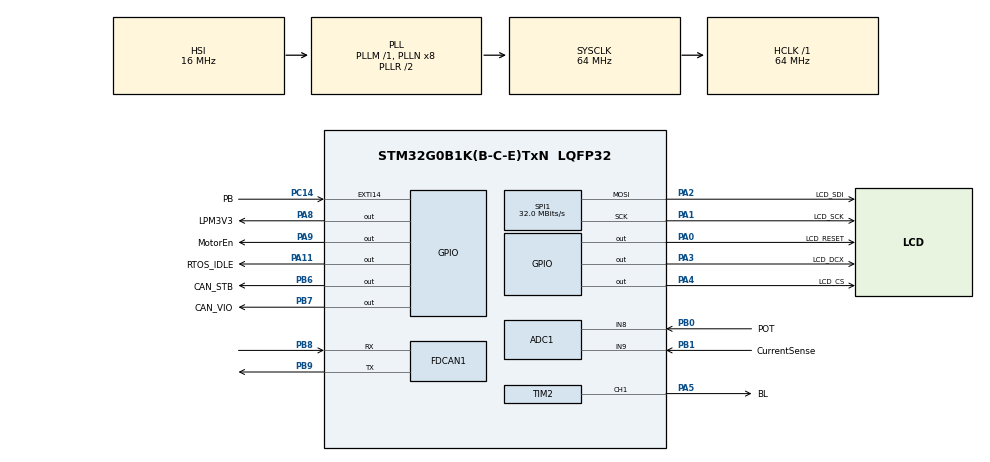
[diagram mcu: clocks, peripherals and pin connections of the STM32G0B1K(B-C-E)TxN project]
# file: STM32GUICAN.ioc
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ADC1.ClockPrescaler=ADC_CLOCK_ASYNC_DIV2
ADC1.ContinuousConvMode=ENABLE
ADC1.DMAContinuousRequests=ENABLE
ADC1.EOCSelection=ADC_EOC_SEQ_CONV
ADC1.NbrOfConversion=1
ADC1.NbrOfConversionFlag=0
ADC1.Overrun=ADC_OVR_DATA_OVERWRITTEN
ADC1.SamplingTimeCommon1=ADC_SAMPLETIME_160CYCLES_5
ADC1.SelectedChannel=ADC_CHANNEL_TEMPSENSOR|ADC_CHANNEL_VREFINT|ADC_CHANNEL_8|ADC_CHANNEL_9
ADC1.Sequencer=NOT_FULLY_CONFIGURABLE
ADC1.TriggerFrequencyMode=ADC_TRIGGER_FREQ_LOW
ADC1.master=1
Dma.ADC1.0.Direction=DMA_PERIPH_TO_MEMORY
Dma.ADC1.0.EventEnable=DISABLE
Dma.ADC1.0.Instance=DMA1_Channel1
Dma.ADC1.0.MemDataAlignment=DMA_MDATAALIGN_HALFWORD
Dma.ADC1.0.MemInc=DMA_MINC_ENABLE
Dma.ADC1.0.Mode=DMA_CIRCULAR
Dma.ADC1.0.PeriphDataAlignment=DMA_PDATAALIGN_HALFWORD
Dma.ADC1.0.PeriphInc=DMA_PINC_DISABLE
Dma.ADC1.0.Polarity=HAL_DMAMUX_REQ_GEN_RISING
Dma.ADC1.0.Priority=DMA_PRIORITY_LOW
Dma.ADC1.0.RequestNumber=1
Dma.ADC1.0.SignalID=NONE
Dma.ADC1.0.SyncEnable=DISABLE
Dma.ADC1.0.SyncPolarity=HAL_DMAMUX_SYNC_NO_EVENT
Dma.ADC1.0.SyncRequestNumber=1
Dma.ADC1.0.SyncSignalID=NONE
Dma.Request0=ADC1
Dma.Request1=SPI1_TX
Dma.SPI1_TX.1.Direction=DMA_MEMORY_TO_PERIPH
Dma.SPI1_TX.1.EventEnable=DISABLE
Dma.SPI1_TX.1.Instance=DMA2_Channel1
Dma.SPI1_TX.1.MemDataAlignment=DMA_MDATAALIGN_HALFWORD
Dma.SPI1_TX.1.MemInc=DMA_MINC_ENABLE
Dma.SPI1_TX.1.Mode=DMA_NORMAL
Dma.SPI1_TX.1.PeriphDataAlignment=DMA_PDATAALIGN_HALFWORD
Dma.SPI1_TX.1.PeriphInc=DMA_PINC_DISABLE
Dma.SPI1_TX.1.Polarity=HAL_DMAMUX_REQ_GEN_RISING
Dma.SPI1_TX.1.Priority=DMA_PRIORITY_MEDIUM
Dma.SPI1_TX.1.RequestNumber=1
Dma.SPI1_TX.1.SignalID=NONE
Dma.SPI1_TX.1.SyncEnable=DISABLE
Dma.SPI1_TX.1.SyncPolarity=HAL_DMAMUX_SYNC_NO_EVENT
Dma.SPI1_TX.1.SyncRequestNumber=1
Dma.SPI1_TX.1.SyncSignalID=NONE
FDCAN1.CalculateBaudRateNominal=1000000
FDCAN1.CalculateTimeBitNominal=1000
FDCAN1.CalculateTimeQuantumNominal=15.625
FDCAN1.ClockDivider=FDCAN_CLOCK_DIV1
FDCAN1.NominalPrescaler=1
FDCAN1.NominalTimeSeg1=47
FDCAN1.NominalTimeSeg2=16
Mcu.Family=STM32G0
Mcu.Name=STM32G0B1K(B-C-E)TxN
Mcu.Package=LQFP32
Mcu.UserConstants=ST7789_SPI,SPI1;ST7789_DMA,DMA2_Channel1
NVIC.DMA1_Ch4_7_DMA2_Ch1_5_DMAMUX1_OVR_IRQn=true\:3\:0\:true\:false\:true\:true\:true\:true
NVIC.EXTI4_15_IRQn=true\:2\:0\:true\:false\:true\:true\:true\:true
NVIC.TIM15_IRQn=true\:1\:0\:true\:false\:true\:false\:true\:true
NVIC.TIM16_FDCAN_IT0_IRQn=true\:2\:0\:true\:false\:true\:true\:true\:true
NVIC.TimeBase=TIM15_IRQn
NVIC.TimeBaseIP=TIM15
PA0.GPIO_Label=LCD_RESET
PA0.GPIO_PuPd=GPIO_PULLUP
PA0.PinState=GPIO_PIN_SET
PA0.Signal=GPIO_Output
PA1.GPIO_Label=LCD_SCK
PA1.GPIO_PuPd=GPIO_PULLDOWN
PA1.GPIO_Speed=GPIO_SPEED_FREQ_VERY_HIGH
PA1.Mode=TX_Only_Simplex_Unidirect_Master
PA1.Signal=SPI1_SCK
PA11\ [PA9].GPIO_Label=RTOS_IDLE
PA11\ [PA9].GPIO_Speed=GPIO_SPEED_FREQ_VERY_HIGH
PA11\ [PA9].Signal=GPIO_Output
PA13.Mode=Serial_Wire
PA13.Signal=SYS_SWDIO
PA14-BOOT0.Mode=Serial_Wire
PA14-BOOT0.Signal=SYS_SWCLK
PA2.GPIO_Label=LCD_SDI
PA2.GPIO_PuPd=GPIO_PULLUP
PA2.GPIO_Speed=GPIO_SPEED_FREQ_VERY_HIGH
PA2.Mode=TX_Only_Simplex_Unidirect_Master
PA2.Signal=SPI1_MOSI
PA3.GPIO_Label=LCD_DCX
PA3.GPIO_Speed=GPIO_SPEED_FREQ_VERY_HIGH
PA3.PinState=GPIO_PIN_SET
PA3.Signal=GPIO_Output
PA4.GPIO_Label=LCD_CS
PA4.GPIO_Speed=GPIO_SPEED_FREQ_VERY_HIGH
PA4.Signal=GPIO_Output
PA5.GPIO_Label=BL
PA5.Signal=S_TIM2_CH1_ETR
PA8.GPIO_Label=LPM3V3
PA8.Signal=GPIO_Output
PA9.GPIO_Label=MotorEn
PA9.GPIO_PuPd=GPIO_PULLDOWN
PA9.Signal=GPIO_Output
PB0.GPIO_Label=POT
PB0.Mode=IN8
PB0.Signal=ADC1_IN8
PB1.GPIO_Label=CurrentSense
PB1.Mode=IN9
PB1.Signal=ADC1_IN9
PB6.GPIO_Label=CAN_STB
PB6.GPIO_PuPd=GPIO_PULLUP
PB6.PinState=GPIO_PIN_SET
PB6.Signal=GPIO_Output
PB7.GPIO_Label=CAN_VIO
PB7.GPIO_PuPd=GPIO_PULLDOWN
PB7.PinState=GPIO_PIN_RESET
PB7.Signal=GPIO_Output
PB8.Mode=FDCAN_Activate
PB8.Signal=FDCAN1_RX
PB9.Mode=FDCAN_Activate
PB9.Signal=FDCAN1_TX
PC14-OSC32_IN\ (PC14).GPIO_Label=PB
PC14-OSC32_IN\ (PC14).GPIO_ModeDefaultEXTI=GPIO_MODE_IT_RISING
PC14-OSC32_IN\ (PC14).GPIO_PuPd=GPIO_PULLDOWN
PC14-OSC32_IN\ (PC14).Signal=GPXTI14
ProjectManager.HeapSize=0x200
ProjectManager.StackSize=0x400
ProjectManager.TargetToolchain=CMake
RCC.ADCCLockSelection=RCC_ADCCLKSOURCE_HSI
RCC.ADCFreq_Value=16000000
RCC.AHBFreq_Value=64000000
RCC.CortexFreq_Value=64000000
RCC.EXTERNAL_CLOCK_VALUE=48000
RCC.FDCANCLockSelection=RCC_FDCANCLKSOURCE_PLL
RCC.HCLKFreq_Value=64000000
RCC.HSE_VALUE=8000000
RCC.HSI48_VALUE=48000000
RCC.HSI_VALUE=16000000
RCC.LSE_VALUE=32768
RCC.PLLP=RCC_PLLP_DIV32
RCC.SYSCLKFreq_VALUE=64000000
RCC.SYSCLKSource=RCC_SYSCLKSOURCE_PLLCLK
RCC.USBFreq_Value=48000000
RCC.VCOOutputFreq_Value=128000000
SH.S_TIM2_CH1_ETR.0=TIM2_CH1,PWM Generation1 CH1
SPI1.BaudRatePrescaler=SPI_BAUDRATEPRESCALER_2
SPI1.CLKPhase=SPI_PHASE_1EDGE
SPI1.CLKPolarity=SPI_POLARITY_LOW
SPI1.CalculateBaudRate=32.0 MBits/s
SPI1.DataSize=SPI_DATASIZE_8BIT
SPI1.Direction=SPI_DIRECTION_2LINES
SPI1.Mode=SPI_MODE_MASTER
SPI1.NSSPMode=SPI_NSS_PULSE_DISABLE
SPI1.VirtualType=VM_MASTER
STMicroelectronics.X-CUBE-TOUCHGFX.4.25.0.tgfx_block_size=19200
STMicroelectronics.X-CUBE-TOUCHGFX.4.25.0.tgfx_buffering_strategy=Partial
STMicroelectronics.X-CUBE-TOUCHGFX.4.25.0.tgfx_custom_height=320
STMicroelectronics.X-CUBE-TOUCHGFX.4.25.0.tgfx_custom_width=240
STMicroelectronics.X-CUBE-TOUCHGFX.4.25.0.tgfx_number_of_blocks=2
STMicroelectronics.X-CUBE-TOUCHGFX.4.25.0.tgfx_oswrapper=Custom
STMicroelectronics.X-CUBE-TOUCHGFX.4.25.0.tgfx_vector_rendering=Disabled
STMicroelectronics.X-CUBE-TOUCHGFX.4.25.0_IsPackSelfContextualization=true
TIM2.AutoReloadPreload=TIM_AUTORELOAD_PRELOAD_ENABLE
TIM2.Channel-PWM\ Generation1\ CH1=TIM_CHANNEL_1
TIM2.Period=1000-1
TIM2.Prescaler=300-1
VP_ADC1_TempSens_Input.Mode=IN-TempSens
VP_ADC1_Vref_Input.Mode=IN-Vrefint
VP_SYS_VS_DBSignals.Mode=DisableDeadBatterySignals
VP_SYS_VS_tim15.Mode=TIM15
board=custom

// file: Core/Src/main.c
/* USER CODE BEGIN Header */
/**
 ******************************************************************************
 * @file           : main.c
 * @brief          : Main program body
 ******************************************************************************
 * @attention
 *
 * Copyright (c) 2025 STMicroelectronics.
 * All rights reserved.
 *
 * This software is licensed under terms that can be found in the LICENSE file
 * in the root directory of this software component.
 * If no LICENSE file comes with this software, it is provided AS-IS.
 *
 ******************************************************************************
 */
/* USER CODE END Header */
#include "main.h"
#include "adc.h"
#include "dma.h"
#include "fdcan.h"
#include "spi.h"
#include "tim.h"
#include "gpio.h"

/* USER CODE BEGIN Includes */
#include <FreeRTOS.h>
#include <task.h>
#include "semphr.h"
#include "stm32g0xx_hal_conf.h"

#include "canbus.h"
#include "m15_motor.h"

#include "lcd.h"

#include "lvgl.h"
#include "ui.h"

/* USER CODE END Includes */

/* USER CODE BEGIN PTD */
typedef struct
{
	uint16_t POT;
	uint16_t CurrentSense;
	uint16_t Temp;
	uint16_t VREF;

} APP_ADC_BUF_t;
/* USER CODE END PTD */

/* USER CODE BEGIN PD */

extern objects_t objects;

/* USER CODE END PD */

/* USER CODE BEGIN PV */
TaskHandle_t           LvglTaskHandle;
TaskHandle_t           UI_TaskHandle;
TaskHandle_t           CAN_TaskHandle;

volatile APP_ADC_BUF_t ADC_Buffer;
float                  POT;

#if configGENERATE_RUN_TIME_STATS
volatile unsigned long     ulHighFrequencyTimerTicks;
extern LPTIM_HandleTypeDef hlptim2;
#endif

/* USER CODE END PV */

void SystemClock_Config(void);
/* USER CODE BEGIN PFP */

void CAN_Task(void* argument);

void UI_Task(void* argument);

void LVGL_Task(void* argument);

/* USER CODE END PFP */

/* USER CODE BEGIN 0 */
const char* Get_Mode_String(M15_Mode_t mode)
{
	switch(mode)
	{
	case VOLTAGE_CONTROL:
		return "vltctrl";
	case CURRENT_CONTROL:
		return "BURR BREAKING";
	case VELOCITY_CONTROL:
		return "CONSTANT RPM";
	case POSITION_CONTROL:
		return "ANGLE SET";
	case MOTOR_DISABLED:
		return "Motor Disabled";
	case MOTOR_ENABLED:
		return "Motor Enabled";
	default:
		return "Unknown Mode";
	}
}
/* USER CODE END 0 */

int main(void)
{

	/* MCU Configuration--------------------------------------------------------*/

	/* Reset of all peripherals, Initializes the Flash interface and the Systick. */
	HAL_Init();

	/* Configure the system clock */
	SystemClock_Config();

	/* Initialize all configured peripherals */
	MX_GPIO_Init();
	MX_DMA_Init();
	MX_ADC1_Init();
	MX_FDCAN1_Init();
	MX_SPI1_Init();
	MX_TIM2_Init();
	/* USER CODE BEGIN 2 */

	HAL_TIM_PWM_Start(&htim2, TIM_CHANNEL_1);
	TIM2->CCR1 = 0;

	/* Create FreeRTOS tasks */
	xTaskCreate(LVGL_Task, "LVGL Task", 1024, NULL, osPriorityLow, &LvglTaskHandle);
	xTaskCreate(UI_Task, "UI Task", 256, NULL, osPriorityHigh + 1, &UI_TaskHandle);

	xTaskCreate(CAN_Task, "CAN Task", 256, NULL, osPriorityHigh, &CAN_TaskHandle);

	HAL_GPIO_WritePin(RTOS_IDLE_GPIO_Port, RTOS_IDLE_Pin, GPIO_PIN_SET);

	/* USER CODE END 2 */

	/* Infinite loop */
	/* USER CODE BEGIN WHILE */

	vTaskStartScheduler();

	while(1)
	{
		/* USER CODE END WHILE */

	}
}

void SystemClock_Config(void)
{
	RCC_OscInitTypeDef RCC_OscInitStruct = {0};
	RCC_ClkInitTypeDef RCC_ClkInitStruct = {0};

	/** Configure the main internal regulator output voltage
	 */
	HAL_PWREx_ControlVoltageScaling(PWR_REGULATOR_VOLTAGE_SCALE1);

	/** Initializes the RCC Oscillators according to the specified parameters
	 * in the RCC_OscInitTypeDef structure.
	 */
	RCC_OscInitStruct.OscillatorType      = RCC_OSCILLATORTYPE_HSI;
	RCC_OscInitStruct.HSIState            = RCC_HSI_ON;
	RCC_OscInitStruct.HSIDiv              = RCC_HSI_DIV1;
	RCC_OscInitStruct.HSICalibrationValue = RCC_HSICALIBRATION_DEFAULT;
	RCC_OscInitStruct.PLL.PLLState        = RCC_PLL_ON;
	RCC_OscInitStruct.PLL.PLLSource       = RCC_PLLSOURCE_HSI;
	RCC_OscInitStruct.PLL.PLLM            = RCC_PLLM_DIV1;
	RCC_OscInitStruct.PLL.PLLN            = 8;
	RCC_OscInitStruct.PLL.PLLP            = RCC_PLLP_DIV32;
	RCC_OscInitStruct.PLL.PLLQ            = RCC_PLLQ_DIV2;
	RCC_OscInitStruct.PLL.PLLR            = RCC_PLLR_DIV2;
	if(HAL_RCC_OscConfig(&RCC_OscInitStruct) != HAL_OK)
	{
		Error_Handler();
	}

	/** Initializes the CPU, AHB and APB buses clocks
	 */
	RCC_ClkInitStruct.ClockType      = RCC_CLOCKTYPE_HCLK | RCC_CLOCKTYPE_SYSCLK | RCC_CLOCKTYPE_PCLK1;
	RCC_ClkInitStruct.SYSCLKSource   = RCC_SYSCLKSOURCE_PLLCLK;
	RCC_ClkInitStruct.AHBCLKDivider  = RCC_SYSCLK_DIV1;
	RCC_ClkInitStruct.APB1CLKDivider = RCC_HCLK_DIV1;

	if(HAL_RCC_ClockConfig(&RCC_ClkInitStruct, FLASH_LATENCY_2) != HAL_OK)
	{
		Error_Handler();
	}
}

/* USER CODE BEGIN 4 */

typedef enum
{
	MOTOR_NO_CHANGE  = 0,
	MOTOR_CYCLE_MODE = 1,
} CAN_COMMANDS_t;

void CAN_Task(void* argument)
{
	uint32_t ulNotifiedValue;

	HAL_ADCEx_Calibration_Start(&hadc1);
	HAL_ADC_Start_DMA(&hadc1, (uint32_t*)&ADC_Buffer, sizeof(ADC_Buffer) / sizeof(uint16_t));

	/* Configure CANBUS with TX messages and RX filters */
	FDCAN_Config();

	/* Enable the CAN transceiver */
	HAL_GPIO_WritePin(CAN_VIO_GPIO_Port, CAN_VIO_Pin, GPIO_PIN_SET);
	HAL_GPIO_WritePin(CAN_STB_GPIO_Port, CAN_STB_Pin, GPIO_PIN_RESET);

	/* Enable the Motor */
	HAL_GPIO_WritePin(MotorEn_GPIO_Port, MotorEn_Pin, GPIO_PIN_SET);

	M15_Motor_Calibrate();
	vTaskDelay(500);
	M15_Motor_Set_Mode(POSITION_CONTROL);
	vTaskDelay(500);
	M15_Motor_Set_Feedback_Frequency(100);  // 100ms reporting interval
	M15_Motor_Set_SetPoint(0x00);
	vTaskDelay(100);

	SharpeningModes_t Mode = ANGLE_SETUP;

	for(;;)
	{
		xTaskNotifyWait(0x0000, 0xFFFF, &ulNotifiedValue, 100);

		if(ulNotifiedValue)
		{
			Mode = (Mode + 1) % 3;
		}

		switch(Mode)
		{
		case CONSTANT_RPM:

			if(ulNotifiedValue)
			{
				M15_Motor_Reset();
				M15_Motor_Set_Mode(VELOCITY_CONTROL);
				vTaskDelay(100);
			}

			int setpoint = 0;
			if(ADC_Buffer.POT > 2048)
			{
				setpoint = (ADC_Buffer.POT - 2048) / 28.44;
			} else if(ADC_Buffer.POT < 2048)
			{
				setpoint = 255 - (2048 - ADC_Buffer.POT) / 28.44;
			} else
			{
				setpoint = 0;
			}

			// M15_Motor_Set_SetPoint(setpoint);
			break;

		case BURR_BREAKING:
			if(ulNotifiedValue)
			{
				M15_Motor_Reset();
				M15_Motor_Set_Mode(CURRENT_CONTROL);
			}

			// M15_Motor_Set_SetPoint(0x01);

			break;

		case ANGLE_SETUP:
			if(ulNotifiedValue)
			{
				M15_Motor_Reset();
				M15_Motor_Set_Mode(POSITION_CONTROL);
			}
			int32_t setpoint_adj = (ADC_Buffer.POT) / 500;
			// M15_Motor_Set_SetPoint(0x00 + setpoint_adj);
		}
	}
}

void UI_Task(void* argument)
{
	for(;;)
	{
		uint8_t click      = 0;

		/* Wait indefinitely for button press rising edge notification */
		xTaskNotifyWait(0x0000, 0x0000, NULL, portMAX_DELAY);

		/* Debounce and count clicks */
		for(uint8_t i = 0; i < NUMBER_OF_SUPPORTED_BUTTON_CLICKS; i++)
		{
			uint16_t Button_Poll = 0;
			while(HAL_GPIO_ReadPin(PB_GPIO_Port, PB_Pin) == GPIO_PIN_SET)
			{
				vTaskDelay(10);
				Button_Poll += 10;
			}

			if(Button_Poll > USER_SHORT_PRESS_DEBOUNCE && Button_Poll < USER_LONG_PRESS_TIME)
			{
				click += 1;
			} else if(Button_Poll >= USER_LONG_PRESS_TIME)
			{
				/* LONG PRESS DETECTED */
				click += 1<<4;
			}
			if (xTaskNotifyWait(0xFFFF, 0x0000, NULL, 200) == pdFALSE) break;
		}

		switch(click)
		{
		case 0:  // no click
			__NOP();
			break;
		case 1:  // single click
			xTaskNotify(CAN_TaskHandle, MOTOR_CYCLE_MODE, eSetBits);
			break;
		case 2:  // double click
			__NOP();
			break;
		case 1<<4:  // long click
			__NOP();
			break;
		}
	}
}

#define RPM_BUFFER_SIZE 100  // Adjust this value to change smoothing (higher = more smoothing)

void LVGL_Task(void* argument)
{
	/* Initialize LVGL */
	lv_init();

	/* Initialize LCD I/O */
	if(lcd_io_init() != 0)
		return;

	/* Create the LVGL display object and the LCD display driver */
	lcd_init();

	ui_init();

	// Moving average for RPM
	int      rpm_buffer[RPM_BUFFER_SIZE];
	int      rpm_buffer_index  = 0;
	int      rpm_buffer_count  = 0;
	bool     rpm_buffer_filled = false;

	uint32_t MotorRPM;
	uint32_t MotorCurrentmA;
	uint32_t MotorPosition_int_addr;
	uint32_t Fault;
	uint32_t Mode;

	uint8_t  startupflag = 1;

	for(;;)
	{
		float adc_vref = 0;

		/* UPDATE DISPLAYED MOTOR MODE */
		xTaskNotifyWaitIndexed(MOTOR_MODE, 0x0000, 0x0000, &Mode, 0);
		lv_label_set_text(objects.mode_display, Get_Mode_String(Mode));

		/* UPDATE DISPLAYED MOTOR SPEED */
		xTaskNotifyWaitIndexed(MOTOR_RPM, 0x0000, 0x0000, &MotorRPM, 0);
		lv_arc_set_value(objects.rpm_gauge, (int32_t)(LV_ABS(MotorRPM)));

		/* UPDATE DISPLAYED MOTOR CURRENT*/
		xTaskNotifyWaitIndexed(MOTOR_CURRENT, 0x0000, 0x0000, &MotorCurrentmA, 0);
		adc_vref        = __LL_ADC_CALC_VREFANALOG_VOLTAGE(ADC_Buffer.VREF, LL_ADC_RESOLUTION_12B);
		int32_t current = ((ADC_Buffer.CurrentSense * adc_vref / 4095) - 1650) * 1000 / 132;
		lv_arc_set_value(objects.current_gauge, (int32_t)(MotorCurrentmA));

		// lv_label_set_text_fmt(objects.current_display, "%dmA", current);

		/* UPDATE DISPLAYED MOTOR FAULTS */
		xTaskNotifyWaitIndexed(MOTOR_FAULTS, 0x0000, 0x0000, &Fault, 0);
		lv_label_set_text(objects.fault_display, M15_Motor_Get_Fault_String(Fault));

		/* UPDATE DISPLAYED MOTOR POSITION */
		xTaskNotifyWaitIndexed(MOTOR_POSITION, 0x0000, 0x0000, &MotorPosition_int_addr, 0);
		float MotorPosition = (int16_t)MotorPosition_int_addr / 91.02222;
		lv_label_set_text_fmt(objects.position_display, "%.2f°", MotorPosition);

		/* UPDATE DISPLAYED MCU TEMPERATURE */
		adc_vref = __LL_ADC_CALC_VREFANALOG_VOLTAGE(ADC_Buffer.VREF, LL_ADC_RESOLUTION_12B);
		int temp = __LL_ADC_CALC_TEMPERATURE(adc_vref, ADC_Buffer.Temp, LL_ADC_RESOLUTION_12B);
		lv_label_set_text_fmt(objects.temperature_display, "%d°C", temp);

		/* The task running lv_timer_handler should have lower priority than that running `lv_tick_inc` */
		HAL_GPIO_WritePin(RTOS_IDLE_GPIO_Port, RTOS_IDLE_Pin, GPIO_PIN_RESET);
		lv_timer_handler();
		lv_timer_handler();
		HAL_GPIO_WritePin(RTOS_IDLE_GPIO_Port, RTOS_IDLE_Pin, GPIO_PIN_SET);

		if(startupflag)
		{
			/* Put the 3V3 Buck chip into high performance mode before turning on the display backlight */
			HAL_GPIO_WritePin(LPM3V3_GPIO_Port, LPM3V3_Pin, GPIO_PIN_SET);
			vTaskDelay(10);
			TIM2->CCR1  = 1000;
			startupflag = 0;
		}
	}
}

void freeRTOS_TickHook()
{
	lv_tick_inc(portTICK_PERIOD_MS);
}

void freeRTOS_IdleHook()
{
	/* Code to execute when the RTOS is idle */
	HAL_GPIO_WritePin(RTOS_IDLE_GPIO_Port, RTOS_IDLE_Pin, GPIO_PIN_SET);
}

void vApplicationStackOverflowHook(TaskHandle_t xTask, char* pcTaskName)
{
	/* Run time stack overflow checking is performed if
	configCHECK_FOR_STACK_OVERFLOW is defined to 1 or 2. This hook function is
	called if a stack overflow is detected. */

	UNUSED(xTask);
	UNUSED(pcTaskName);
	__disable_irq();

	// BSP_GOTOSAFE();

	while(1)
	{
		/* Infinite loop */
	}
}
/* USER CODE END 4 */

void HAL_TIM_PeriodElapsedCallback(TIM_HandleTypeDef* htim)
{
	if(htim->Instance == TIM15)
	{
		HAL_IncTick();
	}
}

void Error_Handler(void)
{
	/* USER CODE BEGIN Error_Handler_Debug */
	/* User can add his own implementation to report the HAL error return state */
	__disable_irq();
	while(1)
	{ }
	/* USER CODE END Error_Handler_Debug */
}
